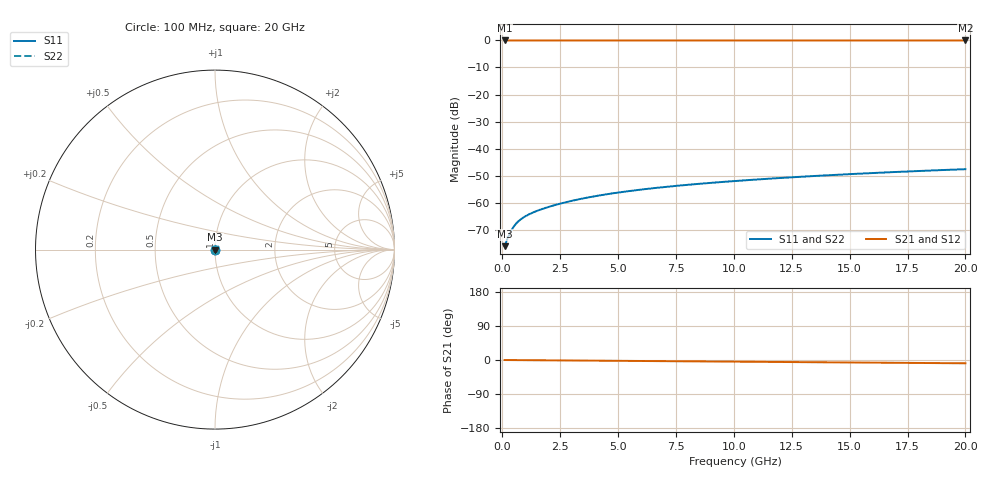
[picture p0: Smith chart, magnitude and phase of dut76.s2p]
! Touchstone file exported from HFSS 2026.1.0
!  File:  C:/ffzhzh/LocalFiles/Ansys_Project_Files/temp_train_TSV_76_1782959367_45308.aedt
!  Generated:  10:30:55 AM Jul  2, 2026
!  Design:  TSV
!  Project:  temp_train_TSV_76_1782959367_45308
! Variables:
!  h_bsmrdl = 2um
!  h_ox = 20um
!  h_rdl = 5um
!  h_sub = 88.82um
!  h_tmrdl = 5um
!  h_tsv = 88.82um
!  h_via = 3um
!  l_bsmrdl = 300um
!  l_sub = 419.7um
!  l_tmrdl = 200um
!  m_sub = 200um
!  pitch = 41.12um
!  r_tsv = 9.85um
!  s_tmrdl = 10um
!  w_bsmrdl = 18um
!  w_sub = 500um
!  w_tmrdl = 12um
!  x_tsv_center1 = 206um
!  x_tsv_center2 = 524um
!  x_tsv_center3 = 736um
!  x_tsv_center4 = 1054um
!  x_tsv_center5 = 1266um
!  x_tsv_center6 = 1584um
# GHz S MA R 50.000000
! Terminal data exported
! Port[1] = TSV1_1_T1
! Port[2] = TSV1_1_T2
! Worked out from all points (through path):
!   200 points, 100 MHz to 20 GHz, reference 50 ohm
!   highest |S21| = 0.00 dB at 100 MHz (marker M1); lowest = 0.0 dB at 20 GHz (marker M2)
!   group delay of S21, straight-line fit = 1.2 ps
!   lowest |S11| = -76.1 dB at 100 MHz (marker M3), VSWR 1.00, Z = 50 + j0.00671 ohm
!   |S11| at or under -10 dB: start of sweep to end of sweep
!   |S22| runs from -76.1 to -47.6 dB; largest |S21 - S12| = 4.2e-15
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0.1  0.0001573 25.3  0.9999 -0.0  0.9999 -0.0  0.0001573 25.3
! Gamma 0 0 0 0
! Port Impedance 50 0 50 0
0.2  0.0002035 40.1  0.9998 -0.1  0.9998 -0.1  0.0002035 40.1
0.3  0.0002585 47.1  0.9998 -0.1  0.9998 -0.1  0.0002585 47.1
0.4  0.0003135 50.3  0.9998 -0.2  0.9998 -0.2  0.0003135 50.3
0.5  0.0003651 51.7  0.9998 -0.2  0.9998 -0.2  0.0003651 51.7
0.6  0.0004124 52.3  0.9998 -0.3  0.9998 -0.3  0.0004124 52.3
0.7  0.0004553 52.5  0.9997 -0.3  0.9997 -0.3  0.0004552 52.5
0.8  0.0004943 52.6  0.9997 -0.4  0.9997 -0.4  0.0004943 52.6
1  0.0005634 52.8  0.9997 -0.4  0.9997 -0.4  0.0005634 52.8
1.2  0.0006244 53.1  0.9996 -0.5  0.9996 -0.5  0.0006244 53.1
1.4  0.0006806 53.6  0.9996 -0.6  0.9996 -0.6  0.0006806 53.6
2  0.0008368 55.5  0.9995 -0.9  0.9995 -0.9  0.0008368 55.5
2.7  0.001011 57.4  0.9995 -1.2  0.9995 -1.2  0.001011 57.4
3.5  0.001204 58.9  0.9994 -1.5  0.9994 -1.5  0.001204 58.9
4.2  0.001365 59.6  0.9993 -1.8  0.9993 -1.8  0.001365 59.6
5  0.001542 60.2  0.9993 -2.2  0.9993 -2.2  0.001542 60.2
6.8  0.001911 61.0  0.9992 -3.0  0.9992 -3.0  0.001912 61.0
8.3  0.002199 61.4  0.9991 -3.6  0.9991 -3.6  0.002199 61.4
10.1  0.002529 61.8  0.999 -4.4  0.999 -4.4  0.00253 61.7
13.4  0.003108 62.0  0.9988 -5.8  0.9988 -5.8  0.003108 62.0
16.7  0.003656 61.7  0.9987 -7.3  0.9987 -7.3  0.003656 61.7
20  0.00417 61.1  0.9985 -8.7  0.9985 -8.7  0.004171 61.0
